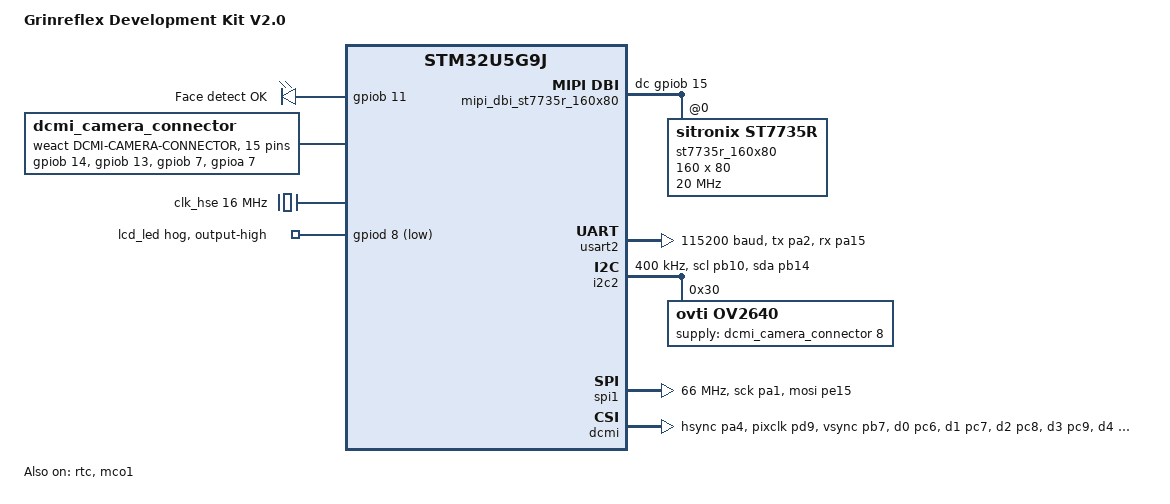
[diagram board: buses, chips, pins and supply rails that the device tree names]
/*
 * Copyright (c) 2025 STMicroelectronics
 *
 * SPDX-License-Identifier: Apache-2.0
 */

/dts-v1/;
#include <st/u5/stm32u5g9Xj.dtsi>
#include <st/u5/stm32u5g7vjtx-pinctrl.dtsi>
#include <zephyr/dt-bindings/display/panel.h>
#include <zephyr/dt-bindings/input/input-event-codes.h>
#include <st/u5/stm32u5.dtsi>

/ {
	model = "Grinreflex Development Kit V2.0";
	compatible = "st,stm32u5g9j-dk2";

	chosen {
		zephyr,console = &usart2;
		zephyr,shell-uart = &usart2;
		zephyr,sram = &sram0;
		zephyr,flash = &flash0;
		zephyr,code-partition = &slot0_partition;
		zephyr,display = &st7735r_160x80;
		zephyr,camera = &zephyr_camera_dvp;
	};

	led_gpios {
		compatible = "gpio-leds";

		green_led_0: led_0 {
			gpios = <&gpiob 11 GPIO_ACTIVE_HIGH>;
			label = "Face detect OK";
		};
	};

	aliases {
		watchdog0 = &iwdg;
		die-temp0 = &die_temp;
		volt-sensor0 = &vref1;
		volt-sensor1 = &vbat4;
		led0 = &green_led_0;
	};

	mipi_dbi_st7735r_160x80 {
		compatible = "zephyr,mipi-dbi-spi";
		spi-dev = <&spi1>;
		dc-gpios = <&gpiob 15 GPIO_ACTIVE_HIGH>;
		#address-cells = <1>;
		#size-cells = <0>;

		st7735r_160x80: st7735r@0 {
			compatible = "sitronix,st7735r";
			mipi-max-frequency = <20000000>;
			mipi-mode = "MIPI_DBI_MODE_SPI_4WIRE";
			reg = <0>;
			width = <160>;
			height = <80>;
			inversion-on;
			rgb-is-inverted;
			x-offset = <1>;
			y-offset = <26>;
			pwctr1 = [A2 02 84];
			pwctr2 = [C5];
			pwctr3 = [0A 00];
			pwctr4 = [8A 2A];
			pwctr5 = [8A EE];
			invctr = <7>;
			frmctr1 = [01 2C 2D];
			frmctr2 = [01 2C 2D];
			frmctr3 = [01 2C 2D 01 2C 2D];
			vmctr1 = <14>;
			gamctrp1 = [02 1C 07 12 37 32 29 2D 29 25 2B 39 00 01 03 10];
			gamctrn1 = [03 1D 07 06 2E 2C 29 2D 2E 2E 37 3F 00 00 02 10];
			colmod = <5>;
			/* Set D3 (RGB) bit to 1. LV_COLOR_16_SWAP is enabled by default */
			madctl = <184>; /* Set to <184> to rotate the image 180 degrees. */
			caset = [00 01 00 a0];
			raset = [00 1a 00 69];
		};
	};

	dcmi_camera_connector: connector_dcmi_camera {
		compatible = "weact,dcmi-camera-connector";
		#gpio-cells = <2>;
		gpio-map-mask = <0xffffffff 0xffffffc0>;
		gpio-map-pass-thru = <0 0x3f>;

		gpio-map = <3  0 &gpiob 14  0>,  /* DVP_SDA (I2C2_SDA)*/
			   <5  0 &gpiob 13  0>,  /* DVP_SCL (I2C2_SCL)*/
			   <7  0 &gpiob 7  0>,  /* DVP_VSYNC*/
			   <8  0 &gpioa 7  0>,  /* DVP_PWDN NC*/
			   <9  0 &gpioa 4  0>,  /* DVP_HSYNC*/
			   <12 0 &gpioe 6  0>,  /* DVP_D7*/
			   <13 0 &gpioa 8  0>,  /* DVP_XCLK (RCC_MCO1)*/
			   <14 0 &gpioe 5  0>,  /* DVP_D6*/
			   <16 0 &gpiob 6  0>,  /* DVP_D5*/
			   <17 0 &gpiod 9  0>,  /* DVP_PCLK*/
			   <18 0 &gpioe 4  0>,  /* DVP_D4*/
			   <19 0 &gpioc 6  0>,  /* DVP_D0*/
			   <20 0 &gpioc 9  0>,  /* DVP_D3 */
			   <21 0 &gpioc 7  0>,  /* DVP_D1 */
			   <22 0 &gpioc 8  0>;  /* DVP_D2 */
	};

};

&clk_hsi48 {
	status = "okay";
};

&clk_hse {
	clock-frequency = <DT_FREQ_M(16)>;
	status = "okay";
};

&pll1 {
	div-m = <4>;
	mul-n = <80>;
	div-p = <2>;
	div-q = <2>;
	div-r = <2>;
	clocks = <&clk_hse>;
	status = "okay";
};

&pll2 {
	div-m = <4>;
	mul-n = <66>;
	div-p = <2>;
	div-q = <2>;
	div-r = <2>;
	clocks = <&clk_hse>;
	status = "okay";
};

&pll3 {
	div-m = <4>;
	mul-n = <125>;
	div-p = <20>;
	div-q = <20>;
	div-r = <20>;
	clocks = <&clk_hse>;
	status = "okay";
};

&rcc {
	clocks = <&pll1>;
	clock-frequency = <DT_FREQ_M(160)>;
	ahb-prescaler = <1>;
	apb1-prescaler = <1>;
	apb2-prescaler = <1>;
	apb3-prescaler = <1>;
};

&usart2 {
	pinctrl-0 = <&usart2_tx_pa2 &usart2_rx_pa15>;
	pinctrl-names = "default";
	current-speed = <115200>;
	status = "okay";
};

&i2c1 {
	pinctrl-names = "default";
	pinctrl-0 = <&i2c1_scl_pb8 &i2c1_sda_pb3>;
	status = "disabled";
	clock-frequency = <I2C_BITRATE_FAST>;
};

&i2c2 {
	pinctrl-0 = <&i2c2_scl_pb10 &i2c2_sda_pb14>;
	pinctrl-names = "default";
	status = "okay";
	clock-frequency = <I2C_BITRATE_FAST>;

	ov2640: ov2640@30 {
		compatible = "ovti,ov2640";
		reg = <0x30>;

		supply-gpios = <&dcmi_camera_connector 8 GPIO_ACTIVE_HIGH>;
		clock-rate-control = <0x80>;

		status = "okay";

		port {
			ov2640_ep_out: endpoint {
				remote-endpoint-label = "zephyr_camera_dvp_in";
			};
		};
	};
};

&spi1 {
	pinctrl-0 = <&spi1_sck_pa1 &spi1_mosi_pe15>;
	pinctrl-names = "default";
	cs-gpios = <&gpioe 12 (GPIO_ACTIVE_LOW | GPIO_PULL_UP)>;
	clock-frequency = <DT_FREQ_M(66)>;
	status = "okay";
};

&spi2 {
	pinctrl-0 = <&spi2_sck_pb13 &spi2_mosi_pc1 &spi2_miso_pc2>;
	pinctrl-names = "default";
	cs-gpios = <&gpiob 11 (GPIO_ACTIVE_LOW | GPIO_PULL_UP)>;
	clock-frequency = <DT_FREQ_M(10)>;
	status = "disabled";
};

&timers1 {
	st,prescaler = <1>;
	status = "disabled";

	pwm1: pwm {
		status = "okay";
		pinctrl-0 = <&tim1_ch2_pe11>;
		pinctrl-names = "default";
	};
};

&timers2 {
	st,prescaler = <1>;
	status = "disabled";

	pwm2: pwm {
		status = "okay";
		pinctrl-0 = <&tim2_ch4_pa3>;
		pinctrl-names = "default";
	};
};

/* Connected to onboard 4-Gbyte eMMC flash memory */
&sdmmc1 {
	pinctrl-0 = <&sdmmc1_d0_pc8 &sdmmc1_d1_pc9
		&sdmmc1_d2_pc10 &sdmmc1_d3_pc11
		&sdmmc1_d4_pb8 &sdmmc1_d5_pb9
		&sdmmc1_d6_pc6 &sdmmc1_d7_pc7
		&sdmmc1_ck_pc12 &sdmmc1_cmd_pd2>;
	pinctrl-names = "default";
	/* disabled due to conflicting pins pc6, pc7, pc8
	 * pc9 and pb9 with LTDC node.
	 */
	status = "disabled";
};

&gpdma1 {
	status = "okay";
};

&flash0 {
	partitions {
		compatible = "fixed-partitions";
		#address-cells = <1>;
		#size-cells = <1>;

		/*
		 * Following flash partition is dedicated to the use of bootloader
		 */
		boot_partition: partition@0 {
			label = "mcuboot";
			reg = <0x00000000 DT_SIZE_K(64)>;
		};

		slot0_partition: partition@10000 {
			label = "image-0";
			reg = <0x00010000 DT_SIZE_K(1952)>;
		};

		slot1_partition: partition@1f8000 {
			label = "image-1";
			reg = <0x001f8000 DT_SIZE_K(1960)>;
		};

		storage_partition: partition@3e2000 {
			label = "storage";
			reg = <0x003e2000 DT_SIZE_K(120)>;
		};
	};
};

&rtc {
	clocks =  <&rcc STM32_CLOCK_BUS_APB3 0x00200000>,
			  <&rcc STM32_SRC_LSE RTC_SEL(1)>;
	status = "okay";
};

&iwdg {
	status = "disabled";
};

&rng {
	status = "disabled";
};

&die_temp {
	status = "disabled";
};

&vref1 {
	status = "disabled";
};

&vbat4 {
	status = "disabled";
};


&gpiod {
	status = "okay";

	lcd_led {
		gpio-hog;
		gpios = <8 GPIO_ACTIVE_LOW>;
		output-high;
	};
};

zephyr_camera_dvp: &dcmi {
	pinctrl-0 = <&dcmi_hsync_pa4
				&dcmi_pixclk_pd9
				&dcmi_vsync_pb7
		     	&dcmi_d0_pc6
				&dcmi_d1_pc7
				&dcmi_d2_pc8
				&dcmi_d3_pc9
		     	&dcmi_d4_pe4
				&dcmi_d5_pb6
				&dcmi_d6_pe5
				&dcmi_d7_pe6>;
	pinctrl-names = "default";

	port {
		zephyr_camera_dvp_in: endpoint {
			remote-endpoint-label = "ov2640_ep_out";
			bus-width = <8>;
			hsync-active = <0>;
			vsync-active = <0>;
			pclk-sample = <1>;
		};
	};
	status = "okay";
};

/* See reference manual (RM0456 Rev 6) page 390:
 *   1000: HSI48 clock selected (hsi48_ck)
 */
#define MCO1_SEL_HSI48 8

 /* See reference manual (RM0456 Rev 6) page 520:
  *   010: division by 4
  */
#define MCO1_PRE_DIV_4 2

&mco1 {
	status = "okay";
	clocks = <&rcc STM32_SRC_HSI48 MCO1_SEL(MCO1_SEL_HSI48)>;
	prescaler = <MCO1_PRE(MCO1_PRE_DIV_4)>;
	pinctrl-0 = <&rcc_mco_pa8>;
	pinctrl-names = "default";
};
